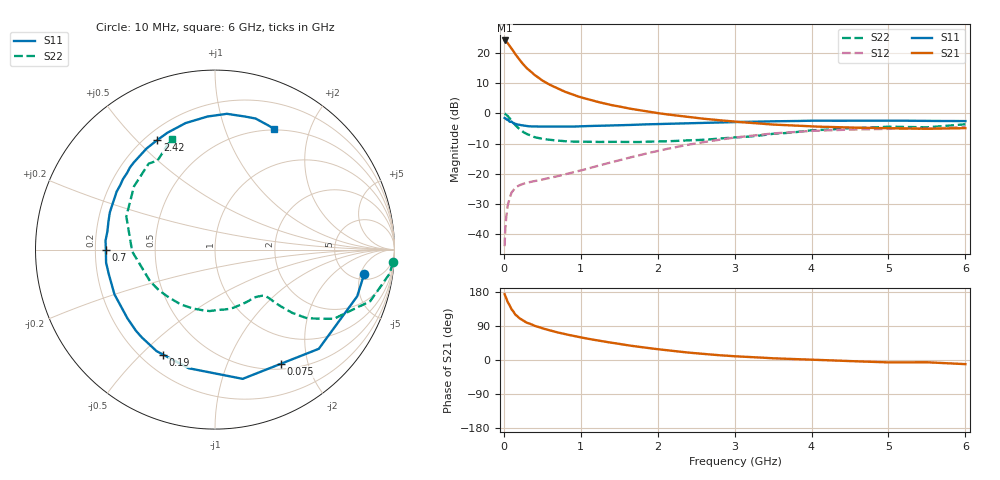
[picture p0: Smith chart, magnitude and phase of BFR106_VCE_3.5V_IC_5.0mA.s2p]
! Infineon Technologies  Discrete & RF Semiconductors
! BFR106
! VCE =  3.5 V,  IC =  5.0 mA
! Common Emitter S-Parameters:  Nov 2015
# GHz  S  MA  R  50
!  f  S11  S21  S12  S22
! GHz  MAG  ANG  MAG  ANG  MAG  ANG  MAG  ANG
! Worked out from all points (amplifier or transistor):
!   210 points, 10 MHz to 6 GHz, reference 50 ohm
!   highest |S21| = 24.1 dB at 10 MHz (marker M1)
!   |S21| within 3 dB of that: start of sweep to 110 MHz
!   unconditionally stable (mu >= 1): 627.2 MHz to 2.021 GHz; 4.586 GHz to end of sweep
!   at 185 MHz: K = 0.39, MSG = 21.2 dB, |S12| = -24.0 dB
!   at 1.52 GHz: K = 1.12, MAG = 6.7 dB, |S12| = -15.3 dB
!   at 6 GHz: K = 1.02, MAG = -1.1 dB, |S12| = -4.5 dB
!   S11 on the Smith chart (normalised r, x): 10 MHz: 6.31, -5.80; 75 MHz: 0.57, -1.58; 190 MHz: 0.29, -0.58; 700 MHz: 0.24, -0.00; 2.42 GHz: 0.25, +0.58; 6 GHz: 0.49, +1.49
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0.01  0.8426 -9.1  16.12 173.6  0.0064 87.4  0.9935 -4.1
0.02  0.8339 -18.2  15.91 168.7  0.0128 79.4  0.9817 -7.9
0.05  0.8 -43.7  14.58 152.9  0.0299 68.5  0.9111 -18.4
0.075  0.7343 -60.1  13.08 144.3  0.0392 59.4  0.8339 -23.8
0.1  0.7365 -77.9  11.94 133.8  0.0491 53.8  0.7657 -30.3
0.15  0.6771 -102.5  9.541 119.6  0.0595 44.9  0.6408 -36.7
0.19  0.6526 -116.3  8.164 112.8  0.0637 41.6  0.5733 -38.7
0.2  0.6527 -119.9  7.842 110.7  0.0648 40.9  0.5566 -39.3
0.26  0.6314 -134.2  6.331 102.6  0.0693 38.5  0.4875 -40.7
0.3  0.6202 -141.9  5.584 98.4  0.0718 38.1  0.4576 -41.3
0.4  0.6131 -156.0  4.334 90.2  0.0765 38.7  0.4059 -41.9
0.5  0.6076 -165.3  3.509 83.5  0.0809 40.9  0.3793 -42.8
0.7  0.608 -179.8  2.581 72.7  0.0919 46.6  0.3564 -47.1
0.82  0.6108 174.3  2.227 67.2  0.1004 49.7  0.3465 -50.2
1.02  0.6148 164.4  1.823 59.0  0.1159 54.8  0.3421 -56.6
1.4  0.6362 149.5  1.377 45.6  0.1558 60.3  0.3402 -71.5
2.02  0.6684 129.4  1.006 28.1  0.2434 59.6  0.3446 -101.0
2.42  0.6898 117.8  0.872 19.2  0.308 55.2  0.3603 -122.8
3.1  0.7257 101.1  0.717 8.9  0.4124 43.3  0.4076 -159.4
4.1  0.7586 83.7  0.605 0.2  0.5201 23.8  0.5323 155.8
5.1  0.7618 71.7  0.569 -6.2  0.5599 7.8  0.6017 126.7
6  0.7486 63.9  0.572 -10.9  0.5938 -3.1  0.6639 111.3
